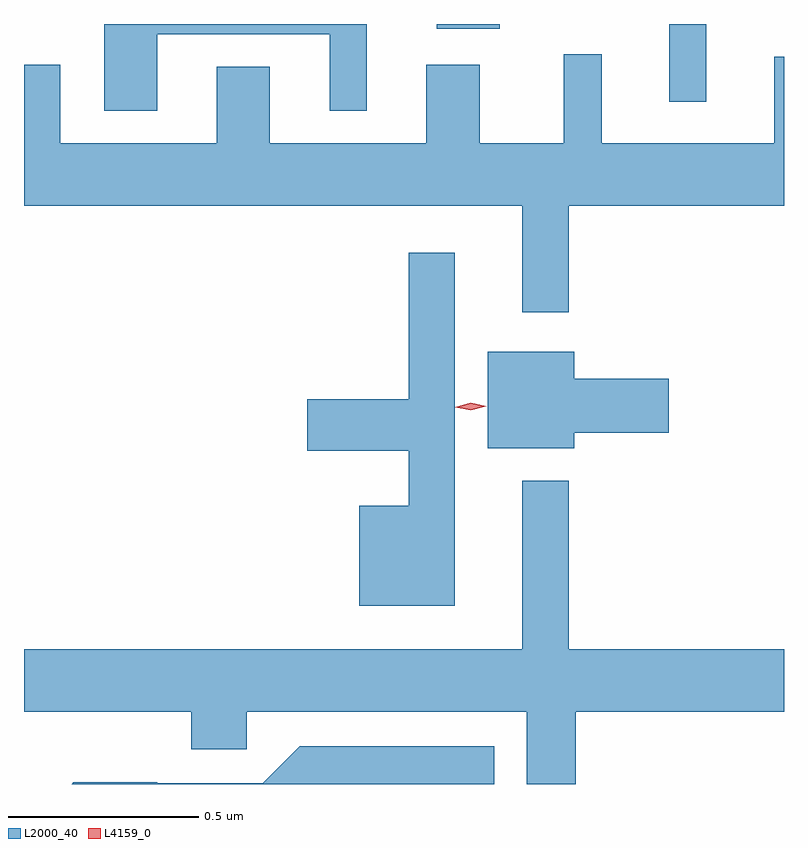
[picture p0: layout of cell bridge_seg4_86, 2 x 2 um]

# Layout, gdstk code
import gdstk
lib = gdstk.Library(unit=1e-6, precision=1e-09)
def R(c, l, rs):  # rectangles x0, y0, x1, y1
    for r in rs: c.add(gdstk.rectangle(r[:2], r[2:], *l))
def P(c, l, *ps):  # polygons
    for p in ps: c.add(gdstk.Polygon(p, *l))
L2000_40 = (2000, 40)
L4159_0 = (4159, 0)

bridge_seg4_86 = lib.new_cell('bridge_seg4_86')
R(bridge_seg4_86, L2000_40, [(471.428,798.426,471.525,798.63), (470.816,798.617,470.982,798.63), (471.728,798.629,471.73,798.63)])
P(bridge_seg4_86, L2000_40, [(470.08,798.603),(470.534,798.603),(470.534,798.402),(470.632,798.402),(470.632,798.63),(469.941,798.63),(469.941,798.402),(470.08,798.402)],
  [(471.163,798.152),(471.73,798.152),(471.73,798.544),(471.704,798.544),(471.704,798.316),(471.251,798.316),(471.251,798.55),(471.151,798.55),(471.151,798.316),(470.929,798.316),(470.929,798.523),(470.789,798.523),(470.789,798.316),(470.377,798.316),(470.377,798.518),(470.237,798.518),(470.237,798.316),(469.825,798.316),(469.825,798.523),(469.73,798.523),(469.73,798.152),(471.041,798.152),(471.041,797.871),(471.163,797.871)],
  [(470.863,798.028),(470.742,798.028),(470.742,797.642),(470.475,797.642),(470.475,797.507),(470.742,797.507),(470.742,797.362),(470.612,797.362),(470.612,797.099),(470.863,797.099)],
  [(471.178,797.555),(471.427,797.555),(471.427,797.697),(471.178,797.697),(471.178,797.767),(470.951,797.767),(470.951,797.513),(471.178,797.513)],
  [(469.73,796.82),(470.17,796.82),(470.17,796.722),(470.316,796.722),(470.316,796.82),(471.053,796.82),(471.053,796.63),(471.182,796.63),(471.182,796.82),(471.73,796.82),(471.73,796.984),(471.163,796.984),(471.163,797.428),(471.041,797.428),(471.041,796.984),(469.73,796.984)],
  [(470.968,796.729),(470.455,796.729),(470.358,796.632),(470.081,796.632),(470.081,796.634),(469.859,796.634),(469.855,796.63),(470.968,796.63)])
P(bridge_seg4_86, L4159_0, [(470.906,797.613),(470.865,797.622),(470.865,797.622),(470.865,797.622),(470.905,797.633),(470.946,797.624),(470.946,797.624),(470.946,797.624)])

lib.write_gds('bridge_seg4_86.gds')
